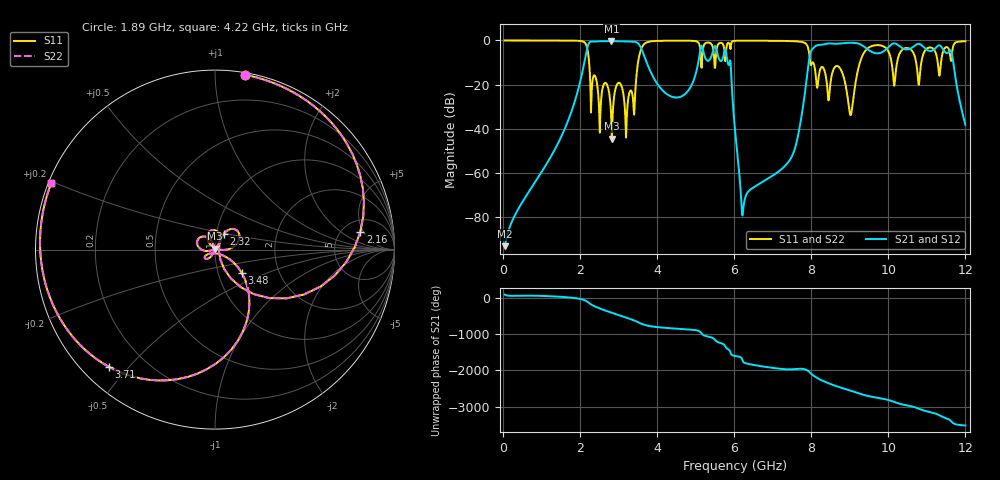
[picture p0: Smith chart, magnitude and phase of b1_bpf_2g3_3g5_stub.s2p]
! kicad2ems mom25d 2.5D MoM (bpf)
! ports: 1=P1, 2=P2
# Hz S RI R 50
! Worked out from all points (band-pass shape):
!   1196 points, 50 MHz to 12 GHz, reference 50 ohm
!   highest |S21| = -0.34 dB at 2.82 GHz (marker M1); lowest = -93.0 dB at 50 MHz (marker M2)
!   |S21| within 3 dB of the highest: 2.197 GHz to 3.586 GHz (1.389 GHz wide, 48 % of centre); 8.063 GHz to 9.414 GHz (1.35 GHz wide, 15.5 % of centre)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
!   lowest |S11| = -44.4 dB at 2.83 GHz (marker M3), VSWR 1.01, Z = 49.8 + j0.577 ohm
!   |S11| at or under -10 dB: 2.242 GHz to 3.51 GHz (1.269 GHz wide, 44.1 % of centre); 8.052 GHz to 9.264 GHz (1.212 GHz wide, 14 % of centre); 10.09 GHz to 10.23 GHz (141.4 MHz wide, 1.39 % of centre)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
!   |S22| runs from -44.4 to 0.0 dB; largest |S21 - S12| = 2.2e-06
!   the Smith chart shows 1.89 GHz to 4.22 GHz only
!   S11 on the Smith chart (normalised r, x): 1.89 GHz: 0.01, +1.18; 2.16 GHz: 7.23, +4.35; 2.32 GHz: 1.08, +0.19; 3.48 GHz: 1.30, -0.35; 3.71 GHz: 0.08, -0.44; 4.22 GHz: 0.01, +0.20
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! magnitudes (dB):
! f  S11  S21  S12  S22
! 50 MHz  0.0  -93.0  -93.0  0.0
! 1.89 GHz  -0.1  -26.4  -26.4  -0.1
! 2.05 GHz  -0.3  -15.6  -15.6  -0.3
! 2.16 GHz  -1.8  -6.2  -6.2  -1.8
! 2.32 GHz  -20.0  -0.5  -0.5  -20.0
! 2.82 GHz  -37.7  -0.3  -0.3  -37.7
! 2.83 GHz  -44.4  -0.3  -0.3  -44.4
! 3.48 GHz  -14.1  -0.9  -0.9  -14.1
! 3.71 GHz  -1.1  -8.8  -8.8  -1.1
! 4.04 GHz  -0.2  -20.3  -20.3  -0.2
! 4.22 GHz  -0.1  -23.8  -23.8  -0.1
! 5.77 GHz  -9.4  -3.9  -3.9  -9.4
! 6.03 GHz  -0.2  -41.3  -41.3  -0.2
! 6.23 GHz  -0.1  -77.9  -77.9  -0.1
! 7.33 GHz  -0.2  -56.6  -56.6  -0.2
! 8.02 GHz  -10.3  -4.1  -4.1  -10.3
! 8.74 GHz  -12.4  -1.4  -1.4  -12.4
! 9.02 GHz  -33.8  -1.1  -1.1  -33.8
! 9.38 GHz  -5.3  -2.9  -2.9  -5.3
! 10.01 GHz  -5.2  -2.9  -2.9  -5.2
! 11.61 GHz  -7.5  -4.5  -4.5  -7.5
! 12 GHz  -0.4  -38.1  -38.1  -0.4
